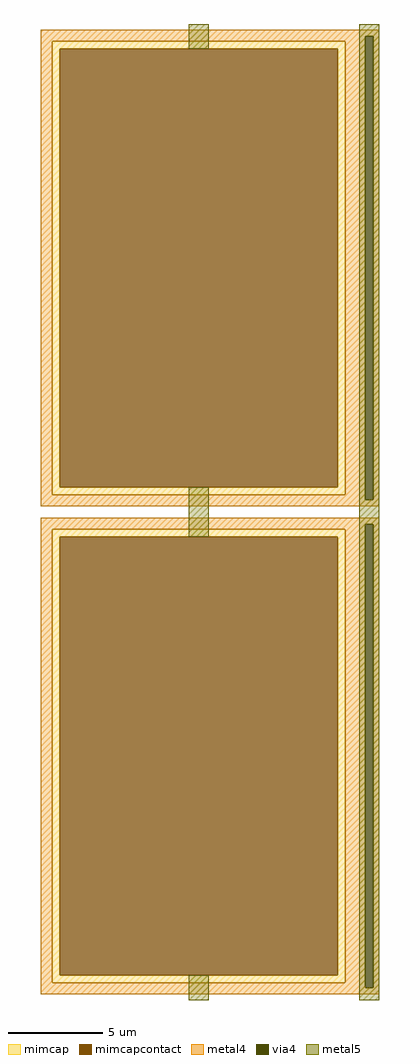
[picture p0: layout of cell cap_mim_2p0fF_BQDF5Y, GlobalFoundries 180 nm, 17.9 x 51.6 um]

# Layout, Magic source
magic
tech gf180mcuC
magscale 1 10
<< mimcap >>
rect -1670 4900 1430 4980
rect -1670 260 -1590 4900
rect 1350 260 1430 4900
rect -1670 180 1430 260
rect -1670 -260 1430 -180
rect -1670 -4900 -1590 -260
rect 1350 -4900 1430 -260
rect -1670 -4980 1430 -4900
<< mimcapcontact >>
rect -1590 260 1350 4900
rect -1590 -4900 1350 -260
<< metal4 >>
rect -1790 5033 1790 5100
rect -1790 4980 1640 5033
rect -1790 180 -1670 4980
rect 1430 180 1640 4980
rect -1790 127 1640 180
rect 1728 127 1790 5033
rect -1790 60 1790 127
rect -1790 -127 1790 -60
rect -1790 -180 1640 -127
rect -1790 -4980 -1670 -180
rect 1430 -4980 1640 -180
rect -1790 -5033 1640 -4980
rect 1728 -5033 1790 -127
rect -1790 -5100 1790 -5033
<< via4 >>
rect 1640 127 1728 5033
rect 1640 -5033 1728 -127
<< metal5 >>
rect -226 4900 -14 5160
rect 1578 5033 1790 5160
rect -226 -260 -14 260
rect 1578 127 1640 5033
rect 1728 127 1790 5033
rect 1578 -127 1790 127
rect -226 -5160 -14 -4900
rect 1578 -5033 1640 -127
rect 1728 -5033 1790 -127
rect 1578 -5160 1790 -5033
<< properties >>
string FIXED_BBOX -1790 60 1550 5100
string gencell cap_mim_2p0fF
string library gf180mcu
string parameters w 15.5 l 24 val 10.88k carea 25.00 cperi 20.00 nx 1 ny 2 dummy 0 square 0 lmin 5.00 wmin 5.00 lmax 100.0 wmax 100.0 dc 0 bconnect 1 tconnect 1
<< end >>
